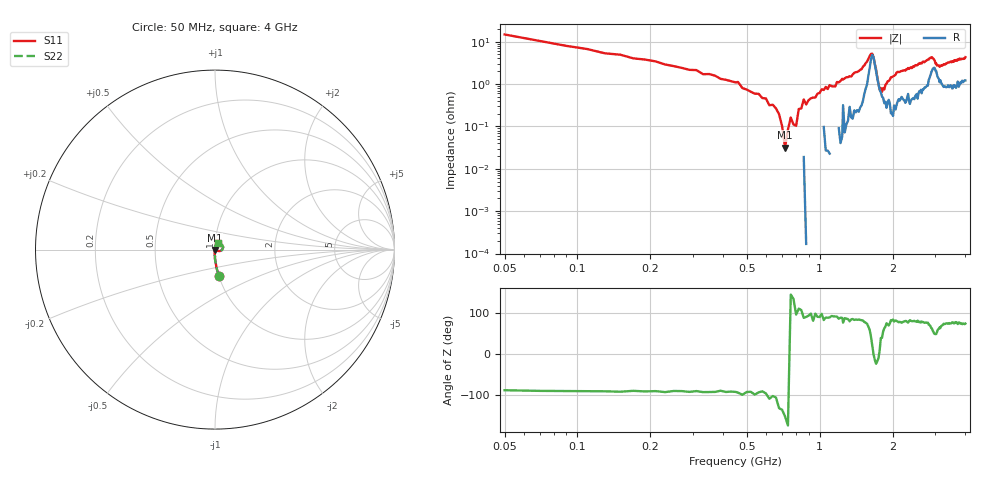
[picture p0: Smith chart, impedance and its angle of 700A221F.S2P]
!  American Technical Ceramics  Date:  3/13/98
!  One Norden Lane
!  Huntington Station,  NY.  11746-2102
!  Tel:  (516) 547-5700  Fax:  (516) 547-5748
!  Part Number  700A221F
!  Description: Porcelain, High Q, Low ESR
!  Application: Bypass, Coupling, Timing, Feedback
!  Tuning, Impedance Match, Blocking
# GHZ S DB R 50
! Freq  |S11|  S11 Ph  |S21|  S21 Ph  |S12|  S12 Ph  |S22|  S22 Ph
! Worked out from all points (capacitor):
!   201 points, 50 MHz to 4 GHz, reference 50 ohm
!   read as one part in series: C = 218 pF near 70 MHz
!   lowest |Z| = 31.7 mohm at 720 MHz (marker M1)
!   series resonance near 741.3 MHz, so ESL is about 210 pH
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0.05  -16.68 -81.7  -0.12 8.3  -0.12 8.3  -16.68 -81.7
0.09  -21.83 -86.7  -0.01 4.4  -0.01 4.4  -21.83 -86.7
0.19  -28.58 -89.8  0.01 2.2  0.01 2.2  -28.58 -89.8
0.6  -44.61 -112.7  -0.01 0.2  -0.01 0.2  -44.61 -112.7
0.72  -52.39 -135.8  -0.01 -0.1  -0.01 -0.1  -52.39 -135.8
0.8  -57.35 174.1  -0.01 -0.1  -0.01 -0.1  -57.35 174.1
0.82  -54.53 159.9  0.00 -0.2  0.00 -0.2  -54.53 159.9
0.88  -53.74 123.6  -0.01 -0.3  -0.01 -0.3  -53.74 123.6
0.9  -50.13 119.9  -0.01 -0.3  -0.01 -0.3  -50.13 119.9
1  -45.35 101.0  -0.01 -0.4  -0.01 -0.4  -45.35 101.0
1.37  -36.31 85.7  -0.02 -1.0  -0.02 -1.0  -36.31 85.7
1.63  -26.37 37.0  -0.33 -2.0  -0.33 -2.0  -26.37 37.0
1.67  -28.29 -4.3  -0.39 -0.1  -0.39 -0.1  -28.29 -4.3
1.77  -43.78 4.4  -0.07 -0.1  -0.07 -0.1  -43.78 4.4
1.85  -42.94 59.7  -0.03 -0.4  -0.03 -0.4  -42.94 59.7
1.91  -38.99 69.7  -0.03 -0.7  -0.03 -0.7  -38.99 69.7
2.03  -36.22 74.0  -0.02 -0.9  -0.02 -0.9  -36.22 74.0
2.7  -29.50 72.3  -0.06 -1.7  -0.06 -1.7  -29.50 72.3
2.91  -27.54 55.6  -0.16 -2.2  -0.16 -2.2  -27.54 55.6
3.09  -31.50 54.4  -0.11 -1.5  -0.11 -1.5  -31.50 54.4
3.35  -30.15 69.2  -0.06 -1.7  -0.06 -1.7  -30.15 69.2
4  -28.12 66.0  -0.09 -2.6  -0.09 -2.6  -28.12 66.0
